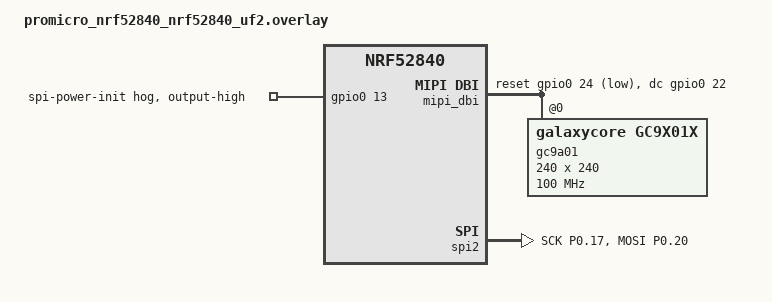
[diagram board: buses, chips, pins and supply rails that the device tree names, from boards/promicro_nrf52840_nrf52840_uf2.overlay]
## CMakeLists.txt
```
cmake_minimum_required(VERSION 3.20.0)

find_package(Zephyr REQUIRED HINTS $ENV{ZEPHYR_BASE})
project(app_bare_display)

target_sources(app PRIVATE src/main.c)
set(LVGL_DIR ${ZEPHYR_LVGL_MODULE_DIR})

FILE(GLOB app_sources src/*.c)
target_sources(app PRIVATE ${app_sources})
```

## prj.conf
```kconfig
CONFIG_GPIO=y
CONFIG_MAIN_STACK_SIZE=2048

CONFIG_SPI=y
CONFIG_LOG_MODE_IMMEDIATE=y  # Optional, prints logs immediately
CONFIG_MAIN_STACK_SIZE=4096

# Required Zephyr & LVGL components
CONFIG_LOG=y
CONFIG_DISPLAY=y
CONFIG_LVGL=y
CONFIG_SHELL=y
CONFIG_LV_Z_MEM_POOL_SIZE=58368
CONFIG_LV_Z_SHELL=y
CONFIG_LV_USE_MONKEY=y

#
# # Display driver
CONFIG_GC9X01X=y
#
# Demo: widgets
CONFIG_LV_COLOR_DEPTH_16=y
# CONFIG_LV_USE_DEMO_BENCHMARK=y
# CONFIG_LV_USE_DEMO_STRESS=y
# CONFIG_LV_USE_DEMO_RENDER=y
# CONFIG_LV_USE_DEMO_TRANSFORM=y
# CONFIG_LV_USE_DEMO_MULTILANG=y

# Fonts (you can trim unused ones)
CONFIG_LV_FONT_MONTSERRAT_12=y
CONFIG_LV_FONT_MONTSERRAT_14=y
CONFIG_LV_FONT_MONTSERRAT_16=y
CONFIG_LV_FONT_MONTSERRAT_18=y
CONFIG_LV_FONT_MONTSERRAT_24=y

CONFIG_LV_USE_SCALE=y
# CONFIG_LV_BUILD_EXAMPLES=y
CONFIG_LV_FONT_MONTSERRAT_40=y
```

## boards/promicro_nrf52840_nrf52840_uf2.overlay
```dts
#include <zephyr/dt-bindings/gpio/gpio.h>
#include <zephyr/dt-bindings/display/panel.h>
#include <zephyr/dt-bindings/mipi_dbi/mipi_dbi.h>

/ {
    chosen {
        zephyr,display = &gc9a01;
    };
    
    mipi_dbi {
        compatible = "zephyr,mipi-dbi-spi";
        dc-gpios = <&gpio0 22 GPIO_ACTIVE_HIGH>;
        reset-gpios = <&gpio0 24 GPIO_ACTIVE_LOW>;
        spi-dev = <&spi2>;
        #address-cells = <1>;
        #size-cells = <0>;

        gc9a01: gc9a01@0 {
            compatible = "galaxycore,gc9x01x";
            reg = <0>;
            mipi-max-frequency = <DT_FREQ_M(100)>;
            pixel-format = <PANEL_PIXEL_FORMAT_RGB_565>;
            width = <240>;
            height = <240>;
            display-inversion;
        };
    };
};

&pinctrl {
    spi2_default: spi2_default {
        group1 {
            psels = <NRF_PSEL(SPIM_SCK, 0, 17)>,
                    <NRF_PSEL(SPIM_MOSI, 0, 20)>;
        };
    };

    spi2_sleep: spi2_sleep {
        group1 {
            psels = <NRF_PSEL(SPIM_SCK, 0, 17)>,
                    <NRF_PSEL(SPIM_MOSI, 0, 20)>;
                    low-power-enable;
        };
    };
};

&spi2 {
    status = "okay";
    pinctrl-0 = <&spi2_default>;
    pinctrl-1 = <&spi2_sleep>;
    pinctrl-names = "default", "sleep";
    cs-gpios = <&gpio0 2 GPIO_ACTIVE_LOW>;
};

&gpio0 {
	status = "okay";
	spi-power-init {
		gpio-hog;
		gpios = <13 GPIO_ACTIVE_HIGH>;
		output-high;
	};
};
```

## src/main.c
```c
#include "misc/lv_color.h"
#include "misc/lv_palette.h"
#include <zephyr/kernel.h>
#include <zephyr/drivers/display.h>
#include <zephyr/drivers/gpio.h>
#include <lvgl.h>
#include <lvgl_mem.h>
#include <zephyr/logging/log.h>

LOG_MODULE_REGISTER(main, LOG_LEVEL_DBG);

static lv_style_t style_scaleNoLine;

void draw_gauge(void) {
  lv_style_init(&style_scaleNoLine);

  lv_style_set_arc_width(&style_scaleNoLine, 0);
  lv_style_set_line_width(&style_scaleNoLine, 0);

  //Scale
  lv_obj_t * scale = lv_scale_create(lv_screen_active());
  lv_scale_set_label_show(scale, true);
  lv_scale_set_mode(scale, LV_SCALE_MODE_ROUND_INNER);     //Round, ticks on inside
  lv_scale_set_draw_ticks_on_top(scale, true);

  //Ticks
  lv_scale_set_total_tick_count(scale, 5);
  lv_scale_set_major_tick_every(scale, 4);
  lv_obj_set_style_length(scale, 10, LV_PART_INDICATOR);   //Major ticks

  //Main style
  lv_obj_set_style_bg_color(scale, lv_palette_main(LV_PALETTE_GREEN), LV_PART_MAIN | LV_STATE_DEFAULT);
  lv_obj_set_style_radius(scale, LV_RADIUS_CIRCLE, LV_PART_MAIN | LV_STATE_DEFAULT);

  //Add style remove outer border line of scale
  lv_obj_add_style(scale, &style_scaleNoLine, LV_PART_MAIN);

  //Add sections to color blue/green/red, width 15
  static lv_style_t style_first_section;
  lv_style_init(&style_first_section);
  lv_style_set_arc_color(&style_first_section, lv_palette_main(LV_PALETTE_RED));
  lv_style_set_arc_width(&style_first_section, 10);

  static lv_style_t style_mid_section;
  lv_style_init(&style_mid_section);
  lv_style_set_arc_color(&style_mid_section, lv_palette_main(LV_PALETTE_GREEN));
  lv_style_set_arc_width(&style_mid_section, 10);

  static lv_style_t style_end_section;
  lv_style_init(&style_end_section);
  lv_style_set_arc_color(&style_end_section, lv_palette_main(LV_PALETTE_RED));
  lv_style_set_arc_width(&style_end_section, 10);

  lv_scale_section_t * section_first = lv_scale_add_section(scale);
  lv_scale_section_set_range(section_first, 0, 5);
  lv_scale_section_set_style(section_first, LV_PART_MAIN, &style_first_section);
  lv_scale_section_set_style(section_first, LV_PART_INDICATOR, &style_first_section);
  lv_scale_section_set_style(section_first, LV_PART_ITEMS, &style_first_section);

  lv_scale_section_t * section_mid = lv_scale_add_section(scale);
  lv_scale_section_set_range(section_mid, 5, 20);
  lv_scale_section_set_style(section_mid, LV_PART_MAIN, &style_mid_section);
  lv_scale_section_set_style(section_mid, LV_PART_INDICATOR, &style_mid_section);
  lv_scale_section_set_style(section_mid, LV_PART_ITEMS, &style_mid_section);

  lv_scale_section_t * section_end = lv_scale_add_section(scale);
  lv_scale_section_set_range(section_end, 20, 30);
  lv_scale_section_set_style(section_end, LV_PART_MAIN, &style_end_section);
  lv_scale_section_set_style(section_end, LV_PART_INDICATOR, &style_end_section);
  lv_scale_section_set_style(section_end, LV_PART_ITEMS, &style_end_section);

  //Range and angle / rotation
  lv_scale_set_range(scale, 0, 30);
  lv_scale_set_rotation(scale, 120);
  lv_scale_set_angle_range(scale, 300);

  //Size and alignment
  lv_obj_set_size(scale, 240, 240);
  lv_obj_center(scale);
}

int main(void) {
    const struct device *display = DEVICE_DT_GET(DT_CHOSEN(zephyr_display));

    if (!device_is_ready(display)) {
        LOG_ERR("Display not ready");
        return 1;
    }

    // Turn on the backlight if needed (optional)
    display_blanking_off(display);

    draw_gauge();

#if CONFIG_LV_USE_DEMO_TRANSFORM
    lv_demo_transform();
#endif
#if CONFIG_LV_USE_DEMO_RENDER
    k_timepoint_t next_scene_switch;
    lv_demo_render_scene_t cur_scene = LV_DEMO_RENDER_SCENE_FILL;

    lv_demo_render(cur_scene, 255);
    next_scene_switch =
        sys_timepoint_calc(K_SECONDS(3));
#endif

    LOG_INF("Display initialized and text set.");

    while (1) {
        lv_timer_handler();       // Handle LVGL internal updates
        k_msleep(20);             // Give LVGL time to update

#if CONFIG_LV_USE_DEMO_RENDER

        if (sys_timepoint_expired(next_scene_switch)) {
            cur_scene = (cur_scene + 1) % 6;
            lv_demo_render(cur_scene, 255);
            next_scene_switch = sys_timepoint_calc(
                    K_SECONDS(3));
        }
#endif
    }
    return 0;
}
```
